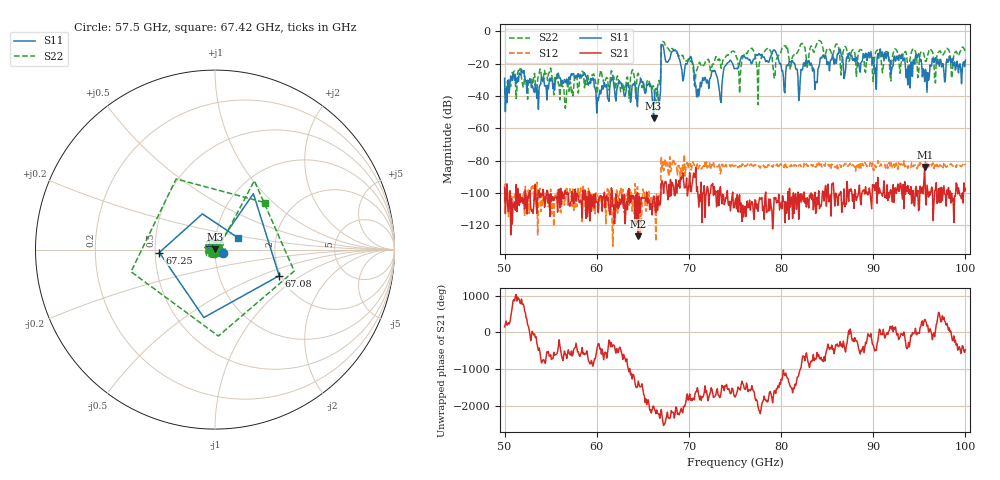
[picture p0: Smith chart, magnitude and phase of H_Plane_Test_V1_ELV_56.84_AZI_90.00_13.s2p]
! 11/27/2026 8:09:43 AM
! C:\ANRITSUVNA\TEMP\TEMP.S2P
! CHANNEL.1
! TR.MEASUREMENT
! RAW.DATA
# HZ S RI R 50.0
! FREQ.HZ  S11RE  S11IM  S21RE  S21IM  S12RE  S12IM  S22RE  S22IM
!; PortSelection: Port_12
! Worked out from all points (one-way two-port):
!   601 points, 50 GHz to 100 GHz, reference 50 ohm
!   highest |S21| = -83.92 dB at 95.58 GHz (marker M1); lowest = -127.0 dB at 64.5 GHz (marker M2)
!   lowest |S11| = -53.8 dB at 66.17 GHz (marker M3), VSWR 1.00, Z = 50.1 + j0.159 ohm
!   |S11| at or under -10 dB: start of sweep to 67 GHz; 67.24 GHz to end of sweep
!   |S22| runs from -47.6 to -5.6 dB; largest |S21 - S12| = 0.00016
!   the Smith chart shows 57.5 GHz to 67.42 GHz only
!   S11 on the Smith chart (normalised r, x): 57.5 GHz: 1.09, -0.04; 67.08 GHz: 1.96, -0.67; 67.25 GHz: 0.53, -0.02; 67.42 GHz: 1.29, +0.17
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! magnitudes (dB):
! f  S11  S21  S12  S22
! 50 GHz  -29.0  -96.5  -105.7  -35.7
! 51.67 GHz  -26.2  -100.7  -102.4  -23.1
! 53.42 GHz  -34.7  -107.1  -101.6  -35.4
! 57.5 GHz  -26.1  -106.6  -110.9  -34.4
! 58.42 GHz  -27.1  -115.7  -117.9  -24.7
! 60.17 GHz  -42.8  -112.1  -112.2  -30.2
! 64.5 GHz  -35.5  -127.0  -107.3  -25.9
! 66.17 GHz  -53.8  -102.0  -102.8  -33.9
! 66.67 GHz  -41.7  -102.1  -110.2  -31.6
! 67.08 GHz  -8.3  -92.5  -84.7  -6.8
! 67.25 GHz  -10.2  -100.2  -86.3  -6.3
! 67.42 GHz  -16.7  -92.9  -79.0  -8.4
! 70.25 GHz  -16.0  -99.3  -85.7  -18.7
! 70.92 GHz  -40.6  -96.2  -82.1  -22.9
! 75 GHz  -23.1  -105.6  -83.0  -13.0
! 79.25 GHz  -11.4  -102.8  -83.1  -29.0
! 80.25 GHz  -27.9  -105.2  -83.1  -9.3
! 83.42 GHz  -24.6  -101.1  -83.6  -10.9
! 91.67 GHz  -16.7  -99.8  -82.0  -15.3
! 94.83 GHz  -14.8  -98.5  -83.7  -28.6
! 95.58 GHz  -31.1  -83.9  -83.4  -16.5
! 100 GHz  -17.7  -97.3  -82.7  -12.6
